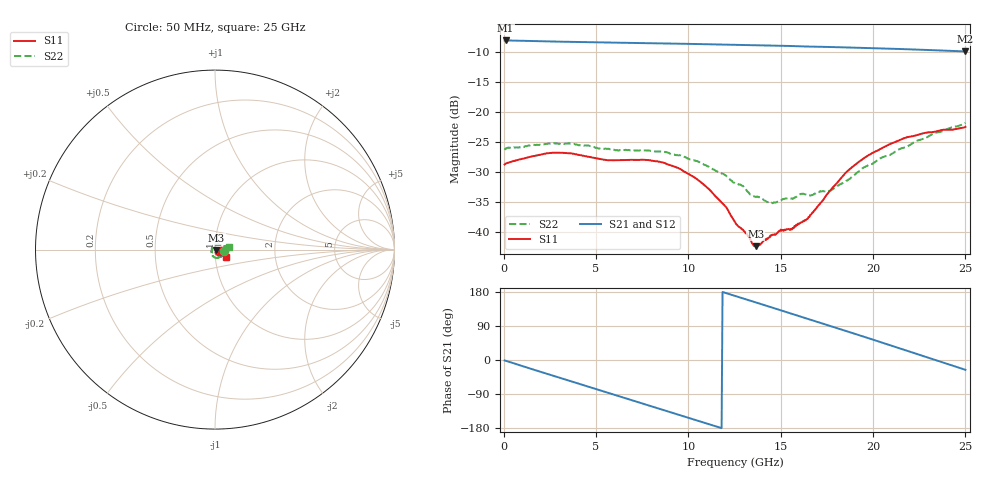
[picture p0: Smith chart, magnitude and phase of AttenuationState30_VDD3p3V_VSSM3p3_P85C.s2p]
! Device: ADRF5703
! Frequency: 9kHz – 20 GHz
! Ports:
! ATTIN  = Port 1
! ATTOUT = Port 2
! Attenuation bit: 30
! Attenuation state: 7.5dB
! VDD = VDD3
! Temperature = 3V_V
! Data: Data was collected using a calibrated network analyzer.
! The reference plane is the package pins of ADRF5703.
! Note: Analog Devices supplies this data as a sample of measured data for this product.
! Your particular data for this product may vary.
! Analog Devices reserves the right to change this data at anytime
# GHZ S DB R 50
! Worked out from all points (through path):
!   500 points, 50 MHz to 25 GHz, reference 50 ohm
!   highest |S21| = -8.01 dB at 100 MHz (marker M1); lowest = -9.8 dB at 25 GHz (marker M2)
!   group delay of S21, straight-line fit = 42.6 ps
!   lowest |S11| = -42.3 dB at 13.65 GHz (marker M3), VSWR 1.02, Z = 50.7 - j0.305 ohm
!   |S11| at or under -10 dB: start of sweep to end of sweep
!   |S22| runs from -35.2 to -21.8 dB; largest |S21 - S12| = 0.0047
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0.05  -28.70 -11.5  -8.02 -1.1  -7.99 -1.1  -26.26 -7.1
0.1  -28.54 -0.7  -8.01 -1.8  -7.98 -1.9  -26.04 -1.9
1.2  -27.62 -2.0  -8.09 -19.0  -8.05 -19.0  -25.66 -10.1
2.45  -26.80 -12.1  -8.17 -38.2  -8.14 -38.2  -25.21 -23.8
4.25  -27.21 -30.1  -8.28 -65.4  -8.26 -65.6  -25.52 -43.8
6.25  -27.99 -39.4  -8.39 -95.7  -8.35 -95.9  -26.35 -60.6
8.4  -28.24 -53.5  -8.50 -128.2  -8.47 -128.4  -26.56 -78.9
9.5  -29.36 -64.6  -8.55 -144.9  -8.53 -145.2  -27.17 -92.1
10.65  -31.59 -73.9  -8.62 -162.3  -8.60 -162.6  -28.36 -108.1
12  -35.66 -72.1  -8.71 177.2  -8.69 176.8  -30.48 -127.6
12.55  -38.42 -68.8  -8.74 168.8  -8.72 168.4  -31.89 -136.7
13.65  -42.33 -23.2  -8.80 152.0  -8.79 151.6  -34.13 -160.6
14.5  -40.54 5.3  -8.85 138.9  -8.84 138.6  -35.06 178.2
15.6  -39.55 13.0  -8.95 121.9  -8.92 121.6  -34.38 155.9
16.15  -38.33 19.0  -9.01 113.5  -8.96 113.1  -33.60 142.4
16.7  -36.74 19.4  -9.04 105.1  -9.01 104.6  -33.81 129.6
17.75  -32.78 16.4  -9.11 88.8  -9.09 88.3  -32.96 99.6
18.7  -29.56 7.5  -9.19 74.0  -9.17 73.4  -31.17 68.8
19.5  -27.68 0.8  -9.26 61.5  -9.24 60.9  -29.19 51.3
20.85  -25.39 -12.7  -9.38 40.3  -9.37 39.7  -27.19 33.5
22.9  -23.38 -24.9  -9.60 7.9  -9.60 7.1  -24.19 16.2
25  -22.43 -34.5  -9.85 -26.0  -9.83 -26.6  -21.78 8.4
